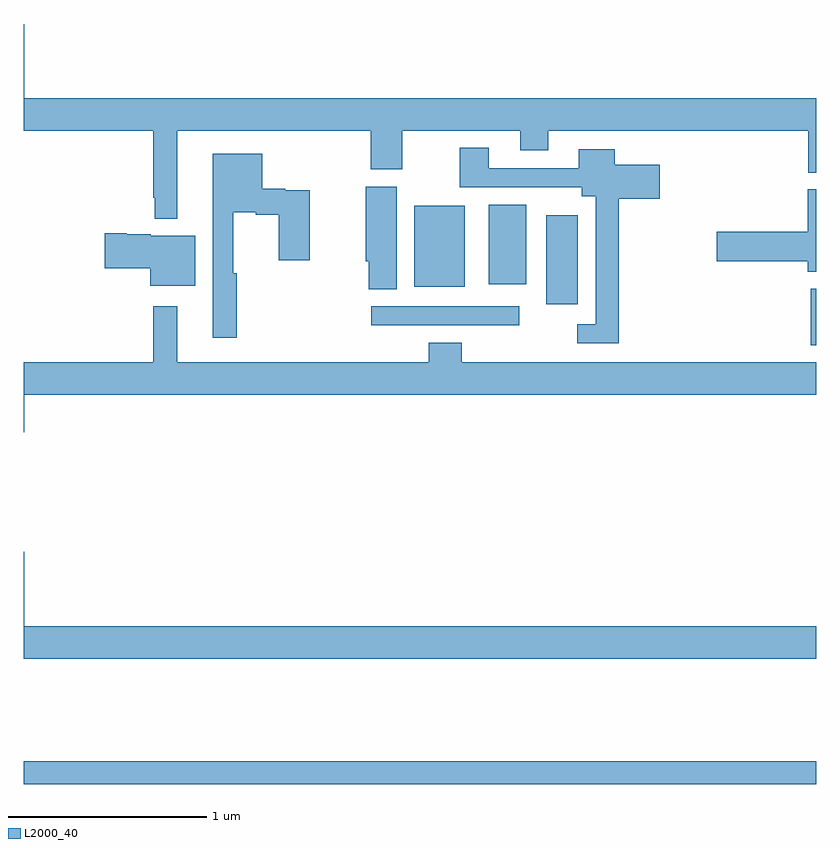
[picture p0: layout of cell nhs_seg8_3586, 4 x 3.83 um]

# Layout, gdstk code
import gdstk
lib = gdstk.Library(unit=1e-6, precision=1e-09)
def R(c, l, rs):  # rectangles x0, y0, x1, y1
    for r in rs: c.add(gdstk.rectangle(r[:2], r[2:], *l))
def P(c, l, *ps):  # polygons
    for p in ps: c.add(gdstk.Polygon(p, *l))
L2000_40 = (2000, 40)

nhs_seg8_3586 = lib.new_cell('nhs_seg8_3586')
R(nhs_seg8_3586, L2000_40, [(333,1083.9,337,1084.016), (336.971,1086.114,337,1086.399), (334.755,1086.216,335.5,1086.312), (335.636,1086.321,335.797,1086.769), (334.97,1086.41,335.227,1086.817), (335.348,1086.422,335.536,1086.823)])
P(nhs_seg8_3586, L2000_40, [(333.775,1087.196),(334.751,1087.196),(334.751,1087.002),(334.911,1087.002),(334.911,1087.196),(335.507,1087.196),(335.507,1087.097),(335.647,1087.097),(335.647,1087.196),(336.959,1087.196),(336.959,1086.985),(337,1086.985),(337,1087.36),(333.004,1087.36),(333.004,1087.735),(333,1087.735),(333,1087.196),(333.654,1087.196),(333.654,1086.859),(333.661,1086.859),(333.661,1086.752),(333.775,1086.752)],
  [(336.002,1086.854),(336.211,1086.854),(336.211,1087.024),(335.983,1087.024),(335.983,1087.102),(335.801,1087.102),(335.801,1087.008),(335.347,1087.008),(335.347,1087.111),(335.2,1087.111),(335.2,1086.912),(335.816,1086.912),(335.816,1086.866),(335.886,1086.866),(335.886,1086.219),(335.793,1086.219),(335.793,1086.123),(336.002,1086.123)],
  [(334.075,1086.477),(334.057,1086.477),(334.057,1086.785),(334.172,1086.785),(334.172,1086.773),(334.286,1086.773),(334.286,1086.543),(334.444,1086.543),(334.444,1086.895),(334.32,1086.895),(334.32,1086.903),(334.204,1086.903),(334.204,1087.081),(333.953,1087.081),(333.953,1086.153),(334.075,1086.153)],
  [(334.882,1086.913),(334.727,1086.913),(334.727,1086.537),(334.741,1086.537),(334.741,1086.397),(334.882,1086.397)],
  [(337,1086.9),(336.956,1086.9),(336.956,1086.686),(336.498,1086.686),(336.498,1086.539),(336.956,1086.539),(336.956,1086.484),(337,1086.484)],
  [(333.865,1086.667),(333.642,1086.667),(333.642,1086.673),(333.52,1086.673),(333.52,1086.68),(333.408,1086.68),(333.408,1086.502),(333.638,1086.502),(333.638,1086.413),(333.865,1086.413)],
  [(333.004,1085.864),(337,1085.864),(337,1086.028),(335.21,1086.028),(335.21,1086.127),(335.045,1086.127),(335.045,1086.028),(333.775,1086.028),(333.775,1086.31),(333.654,1086.31),(333.654,1086.028),(333,1086.028),(333,1085.676),(333.004,1085.676)],
  [(337,1084.696),(333.004,1084.696),(333.004,1085.071),(333,1085.071),(333,1084.532),(337,1084.532)])

lib.write_gds('nhs_seg8_3586.gds')
